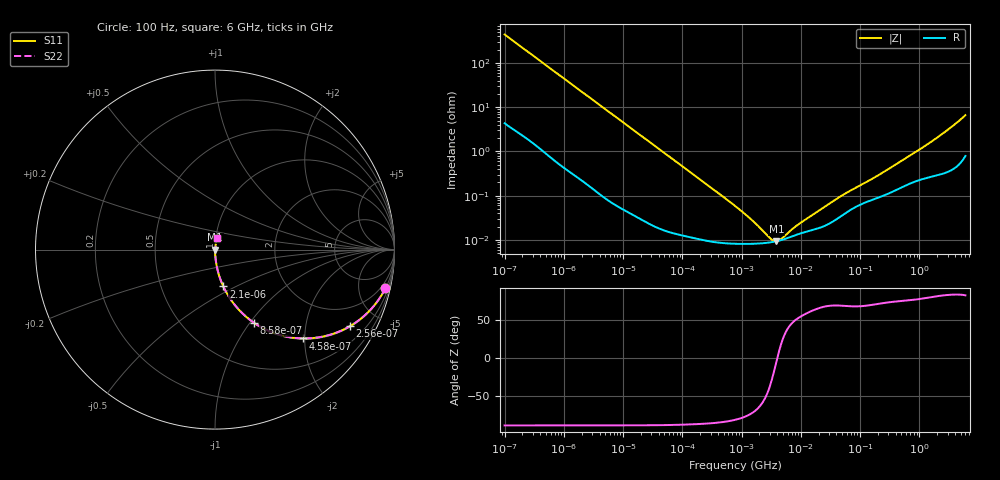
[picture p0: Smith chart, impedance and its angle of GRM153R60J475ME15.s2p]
!Murata Part Number: GRM153R60J475ME15
!These Parameters are Measured in Series Mode Connection
!Data Generated on Mar 30, 2021
!  o--ll--o
!Port1  Port2
!  o------o
!Operation Temp=25[degC], DC Bias Voltage=0[V]
!Freq. Start=100[Hz] Stop=6[GHz] 401[Steps]
# Hz S RI R 50
!Freq.(Hz) S11(Real) S11(Imag) S21(Real) S21(Imag) S12(Real) S12(Imag) S22(Real) S22(Imag)
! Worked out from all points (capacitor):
!   401 points, 100 Hz to 6 GHz, reference 50 ohm
!   read as one part in series: C = 3.58 uF near 109 Hz
!   lowest |Z| = 9.33 mohm at 3.882 MHz (marker M1)
!   series resonance near 4.011 MHz, so ESL is about 440 pH
!   S11 on the Smith chart (normalised r, x): 100 Hz: 1.09, -8.88; 256 Hz: 1.04, -3.49; 458 Hz: 1.02, -1.96; 858 Hz: 1.01, -1.05; 2.1 kHz: 1.00, -0.43; 6 GHz: 1.02, +0.13
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100  0.9498 -0.2134  0.0502 0.2134  0.0502 0.2134  0.9498 -0.2134
164  0.8786 -0.3216  0.1214 0.3216  0.1214 0.3216  0.8786 -0.3216
256  0.7504 -0.4276  0.2496 0.4276  0.2496 0.4276  0.7504 -0.4276
458  0.4894 -0.4949  0.5106 0.4949  0.5106 0.4949  0.4894 -0.4949
858  0.2182 -0.4083  0.7818 0.4083  0.7818 0.4083  0.2182 -0.4083
1283  0.1123 -0.311  0.8877 0.311  0.8877 0.311  0.1123 -0.311
2008  0.0502 -0.2135  0.9498 0.2135  0.9498 0.2135  0.0502 -0.2135
2100  0.0462 -0.2051  0.9538 0.2051  0.9538 0.2051  0.0462 -0.2051
6728  0.00522 -0.0673  0.9948 0.0673  0.9948 0.0673  0.00522 -0.0673
40335  0.000311 -0.0114  0.9997 0.0114  0.9997 0.0114  0.000311 -0.0114
774597  8.19e-05 -0.000581  0.9999 0.000581  0.9999 0.000581  8.19e-05 -0.000581
1516199  8.15e-05 -0.000264  0.9999 0.000264  0.9999 0.000264  8.15e-05 -0.000264
2967816  8.72e-05 -7e-05  0.9999 7e-05  0.9999 7e-05  8.72e-05 -7e-05
3394479  8.98e-05 -3.81e-05  0.9999 3.81e-05  0.9999 3.81e-05  8.98e-05 -3.81e-05
3882480  9.3e-05 -7.3e-06  0.9999 7.3e-06  0.9999 7.3e-06  9.3e-05 -7.3e-06
4856642  0.000101 4.26e-05  0.9999 -4.26e-05  0.9999 -4.26e-05  0.000101 4.26e-05
8311524  0.000129 0.000159  0.9999 -0.000159  0.9999 -0.000159  0.000129 0.000159
1.555665e7  0.000166 0.000321  0.9998 -0.000321  0.9998 -0.000321  0.000166 0.000321
4.983056e7  0.000358 0.000947  0.9996 -0.000947  0.9996 -0.000947  0.000358 0.000947
3.124326e8  0.00115 0.00396  0.9988 -0.00396  0.9988 -0.00396  0.00115 0.00396
1.637704e9  0.00297 0.0167  0.997 -0.0167  0.997 -0.0167  0.00297 0.0167
6e9  0.0121 0.0646  0.9879 -0.0646  0.9879 -0.0646  0.0121 0.0646
